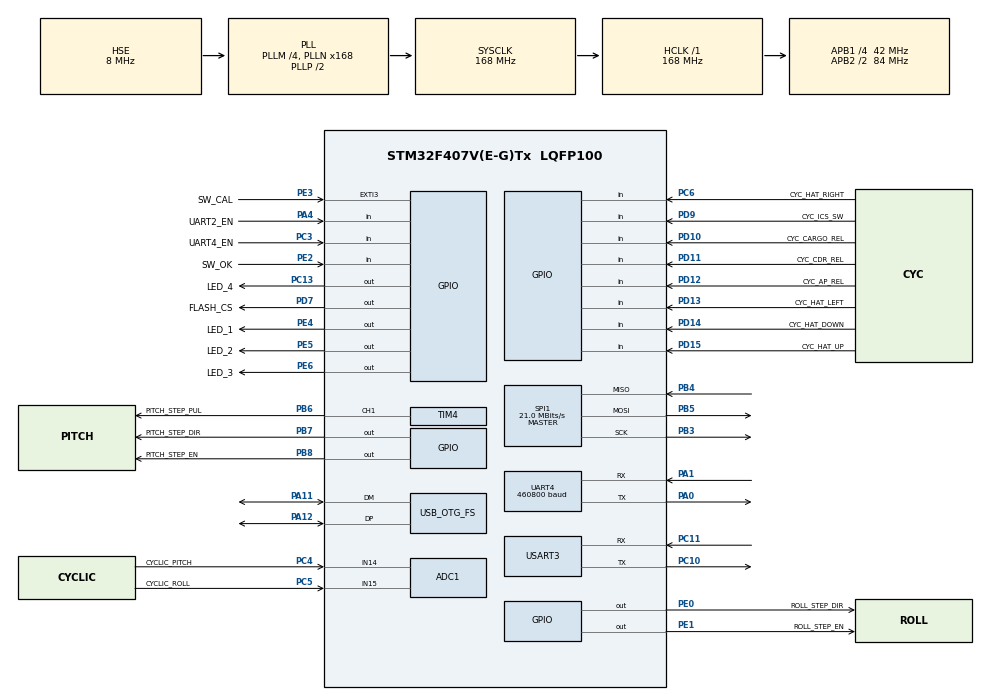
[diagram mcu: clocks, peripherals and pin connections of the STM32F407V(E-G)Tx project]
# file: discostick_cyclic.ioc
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ADC1.Channel-0\#ChannelRegularConversion=ADC_CHANNEL_15
ADC1.Channel-1\#ChannelRegularConversion=ADC_CHANNEL_14
ADC1.ContinuousConvMode=ENABLE
ADC1.DMAContinuousRequests=ENABLE
ADC1.EOCSelection=ADC_EOC_SEQ_CONV
ADC1.ExternalTrigConv=ADC_SOFTWARE_START
ADC1.NbrOfConversion=2
ADC1.NbrOfConversionFlag=1
ADC1.Rank-0\#ChannelRegularConversion=1
ADC1.Rank-1\#ChannelRegularConversion=2
ADC1.SamplingTime-0\#ChannelRegularConversion=ADC_SAMPLETIME_112CYCLES
ADC1.SamplingTime-1\#ChannelRegularConversion=ADC_SAMPLETIME_112CYCLES
ADC1.master=1
AL94.I-CUBE-USBD-COMPOSITE.1.0.3.CompositeCcUSBJjCOMPOSITEJjCOMPOSITE=true
AL94.I-CUBE-USBD-COMPOSITE.1.0.3.CompositeCcUSBJjCOMPOSITEJjCore=true
AL94.I-CUBE-USBD-COMPOSITE.1.0.3.CompositeCcUSBJjCOMPOSITEJjHIDIiCUSTOM=true
AL94.I-CUBE-USBD-COMPOSITE.1.0.3._USBD_USE_HID_CUSTOM=true
AL94.I-CUBE-USBD-COMPOSITE.1.0.3._USBD_USE_HS=false
Dma.ADC1.0.Direction=DMA_PERIPH_TO_MEMORY
Dma.ADC1.0.FIFOMode=DMA_FIFOMODE_DISABLE
Dma.ADC1.0.Instance=DMA2_Stream0
Dma.ADC1.0.MemDataAlignment=DMA_MDATAALIGN_HALFWORD
Dma.ADC1.0.MemInc=DMA_MINC_ENABLE
Dma.ADC1.0.Mode=DMA_CIRCULAR
Dma.ADC1.0.PeriphDataAlignment=DMA_PDATAALIGN_HALFWORD
Dma.ADC1.0.PeriphInc=DMA_PINC_DISABLE
Dma.ADC1.0.Priority=DMA_PRIORITY_HIGH
Dma.Request0=ADC1
Dma.Request1=USART3_RX
Dma.Request2=USART3_TX
Dma.Request3=UART4_RX
Dma.Request4=UART4_TX
Dma.UART4_RX.3.Direction=DMA_PERIPH_TO_MEMORY
Dma.UART4_RX.3.FIFOMode=DMA_FIFOMODE_DISABLE
Dma.UART4_RX.3.Instance=DMA1_Stream2
Dma.UART4_RX.3.MemDataAlignment=DMA_MDATAALIGN_BYTE
Dma.UART4_RX.3.MemInc=DMA_MINC_ENABLE
Dma.UART4_RX.3.Mode=DMA_CIRCULAR
Dma.UART4_RX.3.PeriphDataAlignment=DMA_PDATAALIGN_BYTE
Dma.UART4_RX.3.PeriphInc=DMA_PINC_DISABLE
Dma.UART4_RX.3.Priority=DMA_PRIORITY_LOW
Dma.UART4_TX.4.Direction=DMA_MEMORY_TO_PERIPH
Dma.UART4_TX.4.FIFOMode=DMA_FIFOMODE_DISABLE
Dma.UART4_TX.4.Instance=DMA1_Stream4
Dma.UART4_TX.4.MemDataAlignment=DMA_MDATAALIGN_BYTE
Dma.UART4_TX.4.MemInc=DMA_MINC_ENABLE
Dma.UART4_TX.4.Mode=DMA_NORMAL
Dma.UART4_TX.4.PeriphDataAlignment=DMA_PDATAALIGN_BYTE
Dma.UART4_TX.4.PeriphInc=DMA_PINC_DISABLE
Dma.UART4_TX.4.Priority=DMA_PRIORITY_LOW
Dma.USART3_RX.1.Direction=DMA_PERIPH_TO_MEMORY
Dma.USART3_RX.1.FIFOMode=DMA_FIFOMODE_DISABLE
Dma.USART3_RX.1.Instance=DMA1_Stream1
Dma.USART3_RX.1.MemDataAlignment=DMA_MDATAALIGN_BYTE
Dma.USART3_RX.1.MemInc=DMA_MINC_ENABLE
Dma.USART3_RX.1.Mode=DMA_CIRCULAR
Dma.USART3_RX.1.PeriphDataAlignment=DMA_PDATAALIGN_BYTE
Dma.USART3_RX.1.PeriphInc=DMA_PINC_DISABLE
Dma.USART3_RX.1.Priority=DMA_PRIORITY_LOW
Dma.USART3_TX.2.Direction=DMA_MEMORY_TO_PERIPH
Dma.USART3_TX.2.FIFOMode=DMA_FIFOMODE_DISABLE
Dma.USART3_TX.2.Instance=DMA1_Stream3
Dma.USART3_TX.2.MemDataAlignment=DMA_MDATAALIGN_BYTE
Dma.USART3_TX.2.MemInc=DMA_MINC_ENABLE
Dma.USART3_TX.2.Mode=DMA_NORMAL
Dma.USART3_TX.2.PeriphDataAlignment=DMA_PDATAALIGN_BYTE
Dma.USART3_TX.2.PeriphInc=DMA_PINC_DISABLE
Dma.USART3_TX.2.Priority=DMA_PRIORITY_LOW
Mcu.Family=STM32F4
Mcu.Name=STM32F407V(E-G)Tx
Mcu.Package=LQFP100
NVIC.ADC_IRQn=true\:0\:0\:false\:false\:true\:true\:true\:true
NVIC.DMA1_Stream1_IRQn=true\:0\:0\:false\:false\:true\:false\:true\:true
NVIC.DMA1_Stream2_IRQn=true\:0\:0\:false\:false\:true\:false\:true\:true
NVIC.DMA1_Stream3_IRQn=true\:0\:0\:false\:false\:true\:false\:true\:true
NVIC.DMA1_Stream4_IRQn=true\:0\:0\:false\:false\:true\:false\:true\:true
NVIC.DMA2_Stream0_IRQn=true\:0\:0\:false\:false\:true\:false\:true\:true
NVIC.EXTI3_IRQn=true\:0\:0\:false\:false\:true\:true\:true\:true
NVIC.OTG_FS_IRQn=true\:0\:0\:false\:false\:true\:true\:true\:true
NVIC.PriorityGroup=NVIC_PRIORITYGROUP_4
NVIC.SPI1_IRQn=true\:0\:0\:false\:false\:true\:true\:true\:true
NVIC.UART4_IRQn=true\:0\:0\:false\:false\:true\:true\:true\:true
NVIC.USART3_IRQn=true\:0\:0\:false\:false\:true\:true\:true\:true
PA0-WKUP.Mode=Asynchronous
PA0-WKUP.Signal=UART4_TX
PA1.Mode=Asynchronous
PA1.Signal=UART4_RX
PA11.Mode=Device_Only
PA11.Signal=USB_OTG_FS_DM
PA12.Mode=Device_Only
PA12.Signal=USB_OTG_FS_DP
PA13.Mode=Serial_Wire
PA13.Signal=SYS_JTMS-SWDIO
PA14.Mode=Serial_Wire
PA14.Signal=SYS_JTCK-SWCLK
PA2.Signal=USART2_TX
PA3.Signal=USART2_RX
PA4.GPIO_Label=UART2_EN
PA4.Signal=GPIO_Input
PB3.Mode=Full_Duplex_Master
PB3.Signal=SPI1_SCK
PB4.Mode=Full_Duplex_Master
PB4.Signal=SPI1_MISO
PB5.Mode=Full_Duplex_Master
PB5.Signal=SPI1_MOSI
PB6.GPIO_Label=PITCH_STEP_PUL
PB6.Signal=S_TIM4_CH1
PB7.GPIO_Label=PITCH_STEP_DIR
PB7.Signal=GPIO_Output
PB8.GPIO_Label=PITCH_STEP_EN
PB8.Signal=GPIO_Output
PB9.GPIO_Label=ROLL_STEP_PUL
PB9.Signal=S_TIM4_CH4
PC10.Mode=Asynchronous
PC10.Signal=USART3_TX
PC11.Mode=Asynchronous
PC11.Signal=USART3_RX
PC12.Signal=UART5_TX
PC13-ANTI_TAMP.GPIO_Label=LED_4
PC13-ANTI_TAMP.GPIO_ModeDefaultOutputPP=GPIO_MODE_OUTPUT_OD
PC13-ANTI_TAMP.GPIO_PuPd=GPIO_PULLUP
PC13-ANTI_TAMP.PinState=GPIO_PIN_SET
PC13-ANTI_TAMP.Signal=GPIO_Output
PC3.GPIO_Label=UART4_EN
PC3.Signal=GPIO_Input
PC4.GPIO_Label=CYCLIC_PITCH
PC4.Signal=ADCx_IN14
PC5.GPIO_Label=CYCLIC_ROLL
PC5.Signal=ADCx_IN15
PC6.GPIO_Label=CYC_HAT_RIGHT
PC6.GPIO_PuPd=GPIO_PULLUP
PC6.Signal=GPIO_Input
PC8.Signal=S_TIM8_CH3
PC9.GPIO_PuPd=GPIO_NOPULL
PC9.GPIO_Speed=GPIO_SPEED_FREQ_HIGH
PC9.Signal=S_TIM8_CH4
PD10.GPIO_Label=CYC_CARGO_REL
PD10.GPIO_Mode=GPIO_MODE_INPUT
PD10.GPIO_PuPd=GPIO_PULLUP
PD10.Signal=GPIO_Input
PD11.GPIO_Label=CYC_CDR_REL
PD11.GPIO_PuPd=GPIO_PULLUP
PD11.Signal=GPIO_Input
PD12.GPIO_Label=CYC_AP_REL
PD12.GPIO_Mode=GPIO_MODE_INPUT
PD12.GPIO_PuPd=GPIO_PULLUP
PD12.Signal=GPIO_Input
PD13.GPIO_Label=CYC_HAT_LEFT
PD13.GPIO_Mode=GPIO_MODE_INPUT
PD13.GPIO_PuPd=GPIO_PULLUP
PD13.Signal=GPIO_Input
PD14.GPIO_Label=CYC_HAT_DOWN
PD14.GPIO_Mode=GPIO_MODE_INPUT
PD14.GPIO_PuPd=GPIO_PULLUP
PD14.Signal=GPIO_Input
PD15.GPIO_Label=CYC_HAT_UP
PD15.GPIO_Mode=GPIO_MODE_INPUT
PD15.GPIO_PuPd=GPIO_PULLUP
PD15.Signal=GPIO_Input
PD2.Signal=UART5_RX
PD7.GPIO_Label=FLASH_CS
PD7.GPIO_PuPd=GPIO_PULLUP
PD7.PinState=GPIO_PIN_SET
PD7.Signal=GPIO_Output
PD9.GPIO_Label=CYC_ICS_SW
PD9.GPIO_Mode=GPIO_MODE_INPUT
PD9.GPIO_PuPd=GPIO_PULLUP
PD9.Signal=GPIO_Input
PE0.GPIO_Label=ROLL_STEP_DIR
PE0.Signal=GPIO_Output
PE1.GPIO_Label=ROLL_STEP_EN
PE1.Signal=GPIO_Output
PE2.GPIO_Label=SW_OK
PE2.GPIO_PuPd=GPIO_PULLUP
PE2.Signal=GPIO_Input
PE3.GPIO_Label=SW_CAL
PE3.GPIO_ModeDefaultEXTI=GPIO_MODE_IT_FALLING
PE3.GPIO_PuPd=GPIO_PULLUP
PE3.Signal=GPXTI3
PE4.GPIO_Label=LED_1
PE4.GPIO_ModeDefaultOutputPP=GPIO_MODE_OUTPUT_OD
PE4.GPIO_PuPd=GPIO_PULLUP
PE4.PinState=GPIO_PIN_SET
PE4.Signal=GPIO_Output
PE5.GPIO_Label=LED_2
PE5.GPIO_ModeDefaultOutputPP=GPIO_MODE_OUTPUT_OD
PE5.GPIO_PuPd=GPIO_PULLUP
PE5.PinState=GPIO_PIN_SET
PE5.Signal=GPIO_Output
PE6.GPIO_Label=LED_3
PE6.GPIO_ModeDefaultOutputPP=GPIO_MODE_OUTPUT_OD
PE6.GPIO_PuPd=GPIO_PULLUP
PE6.PinState=GPIO_PIN_SET
PE6.Signal=GPIO_Output
PH0-OSC_IN.Mode=HSE-External-Oscillator
PH0-OSC_IN.Signal=RCC_OSC_IN
PH1-OSC_OUT.Mode=HSE-External-Oscillator
PH1-OSC_OUT.Signal=RCC_OSC_OUT
ProjectManager.HeapSize=0x200
ProjectManager.StackSize=0x400
ProjectManager.TargetToolchain=STM32CubeIDE
RCC.48MHZClocksFreq_Value=48000000
RCC.AHBFreq_Value=168000000
RCC.APB1CLKDivider=RCC_HCLK_DIV4
RCC.APB1Freq_Value=42000000
RCC.APB1TimFreq_Value=84000000
RCC.APB2CLKDivider=RCC_HCLK_DIV2
RCC.APB2Freq_Value=84000000
RCC.APB2TimFreq_Value=168000000
RCC.CortexFreq_Value=168000000
RCC.HCLKFreq_Value=168000000
RCC.HSE_VALUE=8000000
RCC.HSI_VALUE=16000000
RCC.LSE_VALUE=32768
RCC.PLLM=4
RCC.PLLN=168
RCC.PLLQ=7
RCC.PLLSourceVirtual=RCC_PLLSOURCE_HSE
RCC.SYSCLKFreq_VALUE=168000000
RCC.SYSCLKSource=RCC_SYSCLKSOURCE_PLLCLK
RCC.VCOOutputFreq_Value=336000000
SH.ADCx_IN14.0=ADC1_IN14,IN14
SH.ADCx_IN15.0=ADC1_IN15,IN15
SH.S_TIM4_CH1.0=TIM4_CH1,PWM Generation1 CH1
SH.S_TIM4_CH4.0=TIM4_CH4
SH.S_TIM8_CH3.0=TIM8_CH3
SH.S_TIM8_CH4.0=TIM8_CH4
SPI1.BaudRatePrescaler=SPI_BAUDRATEPRESCALER_4
SPI1.CalculateBaudRate=21.0 MBits/s
SPI1.Direction=SPI_DIRECTION_2LINES
SPI1.Mode=SPI_MODE_MASTER
SPI1.VirtualType=VM_MASTER
TIM4.Channel-PWM\ Generation1\ CH1=TIM_CHANNEL_1
TIM4.OCMode_PWM-PWM\ Generation1\ CH1=TIM_OCMODE_PWM1
TIM4.OCPolarity_1=TIM_OCPOLARITY_LOW
TIM4.Period=50-1
TIM4.Prescaler=84-1
TIM4.Pulse-PWM\ Generation1\ CH1=25
TIM4.TIM_MasterOutputTrigger=TIM_TRGO_UPDATE
TIM4.TIM_MasterSlaveMode=TIM_MASTERSLAVEMODE_DISABLE
TIM8.CounterMode=TIM_COUNTERMODE_DOWN
TIM8.Period=2-1
TIM8.Prescaler=0
TIM8.RepetitionCounter=0
TIM8.TIM_MasterOutputTrigger=TIM_TRGO_ENABLE
TIM8.TIM_MasterSlaveMode=TIM_MASTERSLAVEMODE_DISABLE
UART4.BaudRate=460800
UART4.VirtualMode=Asynchronous
USART3.VirtualMode=VM_ASYNC
USB_OTG_FS.VirtualMode=Device_Only
VP_AL94.I-CUBE-USBD-COMPOSITE_VS_USBJjComposite_1.0.0_1.0.3.Mode=USBJjComposite
VP_CRC_VS_CRC.Mode=CRC_Activate
VP_TIM3_VS_ClockSourceINT.Mode=Internal
VP_TIM4_VS_ClockSourceINT.Mode=Internal
VP_TIM4_VS_ClockSourceITR.Mode=TriggerSource_ITR3
VP_TIM4_VS_ControllerModeGated.Mode=Gated Mode
VP_TIM8_VS_ClockSourceITR.Mode=TriggerSource_ITR2
VP_TIM8_VS_ControllerModeClock.Mode=Clock Mode
VP_TIM8_VS_OPM.Mode=OPM_bit
board=custom

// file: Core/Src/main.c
/* USER CODE BEGIN Header */
/**
  ******************************************************************************
  * @file           : main.c
  * @brief          : Main program body
  ******************************************************************************
  * @attention
  *
  * Copyright (c) 2024 STMicroelectronics.
  * All rights reserved.
  *
  * This software is licensed under terms that can be found in the LICENSE file
  * in the root directory of this software component.
  * If no LICENSE file comes with this software, it is provided AS-IS.
  *
  ******************************************************************************
  */
/* USER CODE END Header */
#include "main.h"
#include "adc.h"
#include "crc.h"
#include "dma.h"
#include "spi.h"
#include "tim.h"
#include "usart.h"
#include "usb_otg.h"
#include "gpio.h"

/* USER CODE BEGIN Includes */
#include "input_filter.h"
#include "stdbool.h"
#include "w25q16jv.h"
#include "stepper.h"
#include "calibration.h"
#include "bitutils.h"
#include "uart.h"
#include "com_packet.h"
#include "special_hid_conf.h"
#include "usb_device.h"

/* USER CODE END Includes */

/* USER CODE BEGIN PV */
extern USBD_HandleTypeDef hUsbDevice;
volatile uint16_t adc_buffer[NUM_ADC_CHANNEL] = {0};
bool IRQ_Calibrate_Flag;
cyclic_report_t cyclic_report;
axis_calibration_factors_t roll_calibrations = {0};
axis_calibration_factors_t pitch_calibrations = {0};
stepper_handle_t pitch_motor;
stepper_handle_t roll_motor;
input_filter_t roll_filter;
input_filter_t pitch_filter;
w25q16_handle_t flash_handle = {&hspi1, FLASH_CS_GPIO_Port, FLASH_CS_Pin};
uint8_t button_state = 0;

/* USER CODE END PV */

void SystemClock_Config(void);
/* USER CODE BEGIN PFP */

void HAL_ADC_ConvCpltCallback(ADC_HandleTypeDef *hadc);
void HAL_GPIO_EXTI_Callback(uint16_t GPIO_Pin);
uint8_t USBD_CUSTOM_HID_SendReport(USBD_HandleTypeDef *pdev, uint8_t *report, uint16_t len);
void init_steppers(void);

void init_flash(void);
void init_cyclic_input(void);
void update_cyclic_input(void);

void calibration_routine(void);
void calibrate_axis(axis_calibration_factors_t* cal, volatile uint16_t* adc_buf);
void load_calibrations(axis_calibration_factors_t* cal[], uint8_t calibration_count);
void save_calibrations(axis_calibration_factors_t* cal[], uint8_t calibration_count);

/* USER CODE END PFP */

int main(void)
{

  /* MCU Configuration--------------------------------------------------------*/

  /* Reset of all peripherals, Initializes the Flash interface and the Systick. */
  HAL_Init();

  /* Configure the system clock */
  SystemClock_Config();

  /* Initialize all configured peripherals */
  MX_GPIO_Init();
  MX_DMA_Init();
  MX_ADC1_Init();
  MX_SPI1_Init();
  MX_TIM8_Init();
  MX_TIM4_Init();
  MX_TIM3_Init();
  MX_USART3_UART_Init();
  MX_CRC_Init();
  MX_UART4_Init();
  MX_USB_OTG_FS_PCD_Init();
  /* USER CODE BEGIN 2 */
  //HAL_ADCEx_Calibration_Start(&hadc1, ADC_CALIB_OFFSET, ADC_SINGLE_ENDED);
  HAL_ADC_Start_DMA(&hadc1, (uint32_t*)adc_buffer, NUM_ADC_CHANNEL);
  HAL_TIM_Base_Start(&htim8);
  HAL_TIM_Base_Start(&htim3);
  HAL_TIM_PWM_Start(&htim4, TIM_CHANNEL_1);
  bool rs232_connected = false;
  if(rs232_connected)	{
	ENABLE_USBD_HID_CUSTOM2 = 1;
  }
  else	{
		ENABLE_USBD_HID_CUSTOM2 = 0;
  }
  MX_USB_DEVICE_Init();
  init_flash();
  init_cyclic_input();
  init_steppers();
  uart_handle_t uart4;
  uart_handle_t uart3;
  uart_init(&uart4, &huart4);
  uart_init(&uart3, &huart3);
  com_packet_t packet;
  com_packet_init(&packet, &hcrc);
  /* USER CODE END 2 */

  /* Infinite loop */
  /* USER CODE BEGIN WHILE */

  uint64_t usb_timer = HAL_GetTick();
  uint64_t uart_timer = HAL_GetTick();
  uint32_t usb_interval_ms = 5;
  uint32_t packet_count =0x00;

  bool ack_received = false;
  uint32_t retx_count = 0;
#define RX_BUFFER_SIZE (128)
  uint8_t temp[RX_BUFFER_SIZE];
  uint8_t debuff[RX_BUFFER_SIZE];
  while (1)
  {
    /* USER CODE END WHILE */

    /* USER CODE BEGIN 3 */
	  if(IRQ_Calibrate_Flag){
		  calibration_routine();
	  }
	  update_cyclic_input();

	  // Check if CDR is pressed and release stepper motors if it is
	  if(CDR_BIT(cyclic_report.buttons))	{
		  stepper_disable(&pitch_motor);
		  stepper_disable(&roll_motor);
	  }
	  else	{
		  stepper_enable(&pitch_motor);
		  stepper_enable(&roll_motor);
	  }

	  if(HAL_GetTick()-usb_timer >= usb_interval_ms )	{
		  uint8_t temp_buffer[6] = {0x01, cyclic_report.buttons,cyclic_report.roll, cyclic_report.roll >> 8,cyclic_report.pitch, cyclic_report.pitch >> 8};
		  uint8_t otherbuffer[7] = {0x02,cyclic_report.pitch, cyclic_report.pitch >> 8,0xC0,0xDE,0xDE,0xAD};
		 uint8_t status =  USBD_CUSTOM_HID_SendReport(&hUsbDevice, temp_buffer, sizeof(temp_buffer));
		 if(status == USBD_FAIL || status == USBD_BUSY)	{
			 USBD_CUSTOM_HID_SendReport(&hUsbDevice, temp_buffer, sizeof(temp_buffer));
		 }
		 USBD_CUSTOM_HID2_SendReport(&hUsbDevice, otherbuffer, sizeof(otherbuffer));
		  //USBD_CUSTOM_HID_SendReport(&hUsbDevice, (uint8_t *)&cyclic_report, cyclic_report.size);
          usb_timer = HAL_GetTick();
	  }
	  if(uart_update(&uart4) == UART_RX_FAIL)	{
	  		  // handle rx failure
	  }
	  else if(uart4.unread_bytes > 0)	{
		   memset(temp,'\0', RX_BUFFER_SIZE);
		   uint32_t bytes_read =  fifo_peek_continuous(&uart4.rx_fifo, temp, uart4.unread_bytes);
		   //uint32_t bytes_read = uart_read(&uart4,temp,RX_BUFFER_SIZE);

		   packet_type_t packet_type = com_packet_parse(&packet,temp,bytes_read);
		   if(packet_type != COM_PACKET_FALSE)	{
			   switch(packet_type)	{
				   case COM_PACKET_ACK:
					   ack_received = true;
					   retx_count = 0;
					   break;
				   case COM_PACKET_NACK:
					   break;
				   case COM_PACKET_CMD:
					   break;
				   default:
					   break;
			   }
			   fifo_push_read_index(&uart4.rx_fifo, bytes_read);
		   }

	  }
	  if (ack_received){// && HAL_GetTick() - uart_timer >= 2){

		  uint32_t bytes_read = 0;
		  memset(temp,'\0', RX_BUFFER_SIZE);
		  bytes_read = (uint32_t)snprintf((char*)temp, RX_BUFFER_SIZE, "Packets sent: %lu", packet_count);
		  com_packet_create(&packet, temp, bytes_read);
		  (void)uart_write_packet(&uart4, &packet);
		  ack_received = false;
		  packet_count++;
          uart_timer = HAL_GetTick();

	  }
	  else if(ack_received == false && HAL_GetTick() - uart_timer >= 150)	{
		  if(retx_count < 3)	{

			  uint32_t bytes_read = 0;
		  	  memset(temp,'\0', RX_BUFFER_SIZE);
		  	  bytes_read = (uint32_t)snprintf((char*)temp, RX_BUFFER_SIZE, "Packets sent: %lu", packet_count);
		  	  com_packet_create(&packet, temp, bytes_read);
		  	  (void)uart_write_packet(&uart4, &packet);
		  	  retx_count++;
		  }
		  else	{
			  retx_count = 0;
			  ack_received = true;
		  }
	  }
	  else if(packet_count ==0)	{
		  uint32_t bytes_read = 0;
          memset(temp,'\0', RX_BUFFER_SIZE);
		  bytes_read = (uint32_t)snprintf((char*)temp, RX_BUFFER_SIZE, "Packets sent: %lu", packet_count);
		  packet_count++;
		  com_packet_create(&packet, temp, bytes_read);
		  (void)uart_write_packet(&uart4, &packet);
		  //(void)uart_write(&uart4,temp,bytes_read);
	  }

  }
  /* USER CODE END 3 */
}

void SystemClock_Config(void)
{
  RCC_OscInitTypeDef RCC_OscInitStruct = {0};
  RCC_ClkInitTypeDef RCC_ClkInitStruct = {0};

  /** Configure the main internal regulator output voltage
  */
  __HAL_RCC_PWR_CLK_ENABLE();
  __HAL_PWR_VOLTAGESCALING_CONFIG(PWR_REGULATOR_VOLTAGE_SCALE1);

  /** Initializes the RCC Oscillators according to the specified parameters
  * in the RCC_OscInitTypeDef structure.
  */
  RCC_OscInitStruct.OscillatorType = RCC_OSCILLATORTYPE_HSE;
  RCC_OscInitStruct.HSEState = RCC_HSE_ON;
  RCC_OscInitStruct.PLL.PLLState = RCC_PLL_ON;
  RCC_OscInitStruct.PLL.PLLSource = RCC_PLLSOURCE_HSE;
  RCC_OscInitStruct.PLL.PLLM = 4;
  RCC_OscInitStruct.PLL.PLLN = 168;
  RCC_OscInitStruct.PLL.PLLP = RCC_PLLP_DIV2;
  RCC_OscInitStruct.PLL.PLLQ = 7;
  if (HAL_RCC_OscConfig(&RCC_OscInitStruct) != HAL_OK)
  {
    Error_Handler();
  }

  /** Initializes the CPU, AHB and APB buses clocks
  */
  RCC_ClkInitStruct.ClockType = RCC_CLOCKTYPE_HCLK|RCC_CLOCKTYPE_SYSCLK
                              |RCC_CLOCKTYPE_PCLK1|RCC_CLOCKTYPE_PCLK2;
  RCC_ClkInitStruct.SYSCLKSource = RCC_SYSCLKSOURCE_PLLCLK;
  RCC_ClkInitStruct.AHBCLKDivider = RCC_SYSCLK_DIV1;
  RCC_ClkInitStruct.APB1CLKDivider = RCC_HCLK_DIV4;
  RCC_ClkInitStruct.APB2CLKDivider = RCC_HCLK_DIV2;

  if (HAL_RCC_ClockConfig(&RCC_ClkInitStruct, FLASH_LATENCY_5) != HAL_OK)
  {
    Error_Handler();
  }
}

/* USER CODE BEGIN 4 */
void init_steppers(void)	{

	  pitch_motor.en_gpio_port = PITCH_STEP_EN_GPIO_Port;
	  pitch_motor.en_gpio_pin = PITCH_STEP_EN_Pin;
	  pitch_motor.dir_gpio_port = PITCH_STEP_DIR_GPIO_Port;
	  pitch_motor.dir_gpio_pin = PITCH_STEP_DIR_Pin;
	  pitch_motor.pul_gpio_port = PITCH_STEP_PUL_GPIO_Port;
	  pitch_motor.pul_gpio_pin = PITCH_STEP_PUL_Pin;
	  pitch_motor.timer = &htim8;
	  pitch_motor.mode = MICROSTEP_16;

	  roll_motor.en_gpio_port = ROLL_STEP_EN_GPIO_Port;
	  roll_motor.en_gpio_pin = ROLL_STEP_EN_Pin;
	  roll_motor.dir_gpio_port = ROLL_STEP_DIR_GPIO_Port;
	  roll_motor.dir_gpio_pin = ROLL_STEP_DIR_Pin;
	  roll_motor.pul_gpio_port = ROLL_STEP_PUL_GPIO_Port;
	  roll_motor.pul_gpio_pin = ROLL_STEP_PUL_Pin;
	  roll_motor.timer = &htim8;
	  roll_motor.mode = MICROSTEP_16;

	  stepper_enable(&pitch_motor);
	  stepper_enable(&roll_motor);
}

void init_flash(void)	{

	  //volatile uint64_t id_value = w25q16_get_id(&flash_handle);
	  //volatile uint32_t jedec_id = w25q16_get_jedec_id(&flash_handle);

}

void init_cyclic_input(void)	{
	  axis_calibration_factors_t* axis_ptr[2] = {&pitch_calibrations, &roll_calibrations};
	cyclic_report.buttons = 0;
	  cyclic_report.size = sizeof(cyclic_report.buttons) + sizeof(cyclic_report.roll) + sizeof(cyclic_report.pitch);
	  HAL_Delay(10); // Allow extra time for flash chip to come up, probably unnecessary but is for extra safe-ness
	  load_calibrations(axis_ptr,2);
	  input_filter_init(&roll_filter, ROLL_ALPHA);
	  input_filter_init(&pitch_filter, PITCH_ALPHA);
}

void update_cyclic_input(void)	{
	  cyclic_report.buttons = 0;
	  cyclic_report.buttons = (HAL_GPIO_ReadPin(CYC_AP_REL_GPIO_Port, CYC_AP_REL_Pin)) |
			  	  	  	  	  (HAL_GPIO_ReadPin(CYC_ICS_SW_GPIO_Port, CYC_ICS_SW_Pin) << 1) |
							  (HAL_GPIO_ReadPin(CYC_CARGO_REL_GPIO_Port, CYC_CARGO_REL_Pin) << 2) |
							  (HAL_GPIO_ReadPin(CYC_HAT_UP_GPIO_Port, CYC_HAT_UP_Pin) << 3) |
							  (HAL_GPIO_ReadPin(CYC_HAT_DOWN_GPIO_Port, CYC_HAT_DOWN_Pin) << 4) |
							  (HAL_GPIO_ReadPin(CYC_HAT_RIGHT_GPIO_Port, CYC_HAT_RIGHT_Pin) << 5) |
							  (HAL_GPIO_ReadPin(CYC_HAT_LEFT_GPIO_Port, CYC_HAT_LEFT_Pin) << 6) |
							  (HAL_GPIO_ReadPin(CYC_CDR_REL_GPIO_Port, CYC_CDR_REL_Pin) << 7);

	  cyclic_report.buttons = (cyclic_report.buttons ^ CYCLIC_BUTTON_MASK);
}

void HAL_ADC_ConvCpltCallback(ADC_HandleTypeDef *hadc)	{
	cyclic_report.roll = input_filter_update(&roll_filter, (float) apply_calibration(&roll_calibrations,adc_buffer[0]));
	cyclic_report.pitch = input_filter_update(&pitch_filter, (float) apply_calibration(&pitch_calibrations, adc_buffer[1]));
}

void calibration_routine(void)	{
	  axis_calibration_factors_t* axis_ptr[2] = {&pitch_calibrations, &roll_calibrations};
	  calibrate_axis(&roll_calibrations, &adc_buffer[0]);
	  HAL_GPIO_WritePin(LED_2_GPIO_Port, LED_2_Pin, GPIO_PIN_RESET);
	  calibrate_axis(&pitch_calibrations, &adc_buffer[1]);
	  uint64_t time = HAL_GetTick();
	  HAL_GPIO_WritePin(LED_2_GPIO_Port, LED_2_Pin, GPIO_PIN_RESET);
	  HAL_GPIO_WritePin(LED_1_GPIO_Port, LED_1_Pin, GPIO_PIN_RESET);
	  while(HAL_GetTick() - time < 100){;;}
	  time = HAL_GetTick();
	  HAL_GPIO_WritePin(LED_2_GPIO_Port, LED_2_Pin, GPIO_PIN_SET);
	  HAL_GPIO_WritePin(LED_1_GPIO_Port, LED_1_Pin, GPIO_PIN_SET);
	  while(HAL_GetTick() - time < 100){;;}
	  time = HAL_GetTick();
	  HAL_GPIO_WritePin(LED_2_GPIO_Port, LED_2_Pin, GPIO_PIN_RESET);
	  HAL_GPIO_WritePin(LED_1_GPIO_Port, LED_1_Pin, GPIO_PIN_RESET);
	  while(HAL_GetTick() - time < 100){;;}
	  time = HAL_GetTick();
	  HAL_GPIO_WritePin(LED_2_GPIO_Port, LED_2_Pin, GPIO_PIN_SET);
	  HAL_GPIO_WritePin(LED_1_GPIO_Port, LED_1_Pin, GPIO_PIN_SET);

	  save_calibrations(axis_ptr, 2);
	  IRQ_Calibrate_Flag = false;

}

void calibrate_axis(axis_calibration_factors_t* cal, volatile uint16_t* adc_buf)	{

	clear_calibration(cal);

	uint64_t time = HAL_GetTick();
	while(HAL_GetTick()-time < 250)	{;;}
	while(HAL_GPIO_ReadPin(SW_OK_GPIO_Port, SW_OK_Pin))	{
		if(HAL_GetTick() - time > 500 ){
			HAL_GPIO_TogglePin(LED_1_GPIO_Port, LED_1_Pin);
			time = HAL_GetTick();
		}
	}

	int16_t val1 = (int16_t)adc_buf[0];
	while(HAL_GetTick()-time < 50)	{;;}
	int16_t val2 = (int16_t)adc_buf[0];
	while(HAL_GetTick()-time < 50)	{;;}
	int16_t val3 = (int16_t)adc_buf[0];

	cal->physical_max = (val1+val2+val3)/3;
	time = HAL_GetTick();
	while(HAL_GetTick()-time < 250)	{;;}
	while(HAL_GPIO_ReadPin(SW_OK_GPIO_Port, SW_OK_Pin))	{
			if(HAL_GetTick() - time > 150 ){
				HAL_GPIO_TogglePin(LED_1_GPIO_Port, LED_1_Pin);
				time = HAL_GetTick();
			}
		}

	val1 = (int16_t)adc_buf[0];
	while(HAL_GetTick()-time < 50)	{;;}
	val2 = (int16_t)adc_buf[0];
	while(HAL_GetTick()-time < 50)	{;;}
	val3 = (int16_t)adc_buf[0];

	cal->physical_min = (val1+val2+val3)/3;

	recalculate_calibration(cal);
	HAL_GPIO_WritePin(LED_1_GPIO_Port, LED_1_Pin, GPIO_PIN_SET);
}

void load_calibrations(axis_calibration_factors_t* cal[], uint8_t calibration_count)	{
	uint8_t buffer_size = 0;
	for(uint8_t i=0; i < calibration_count; i++)	{
		buffer_size += CALIBRATION_FACTOR_SIZE;
	}
	uint8_t size_offset = buffer_size / calibration_count;
	uint8_t data_buffer[buffer_size];

	w25q16_read(&flash_handle, FLASH_CALIBRATION_ADDRESS, data_buffer, buffer_size);
	for(uint8_t i=0; i< calibration_count; i++){
		set_calibration(cal[i], &data_buffer[i*size_offset], size_offset);
	}
}

void save_calibrations(axis_calibration_factors_t* cal[], uint8_t calibration_count)	{
	uint8_t buffer_size = 0;
	for(uint8_t i=0; i < calibration_count; i++)	{
		buffer_size += CALIBRATION_FACTOR_SIZE;
	}
	uint8_t size_offset = buffer_size / calibration_count;
	uint8_t data_buffer[buffer_size];

	for(uint8_t i=0; i< calibration_count; i++){
		get_calibration(cal[i], &data_buffer[i*size_offset], size_offset);
	}

	w25q16_sector_erase_4k(&flash_handle, FLASH_CALIBRATION_ADDRESS);
	uint8_t busy_flag = w25q16_read_SR1(&flash_handle)&0x01;
	uint64_t timer = HAL_GetTick();
	while(busy_flag && HAL_GetTick()-timer<200)	{
		busy_flag = w25q16_read_SR1(&flash_handle)&0x01;
	}
	w25q16_write(&flash_handle, FLASH_CALIBRATION_ADDRESS, data_buffer, buffer_size);
}

void HAL_GPIO_EXTI_Callback(uint16_t GPIO_Pin)	{
	IRQ_Calibrate_Flag = true;
}
/* USER CODE END 4 */

void Error_Handler(void)
{
  __disable_irq();
  while (1)
  {
  }
}
